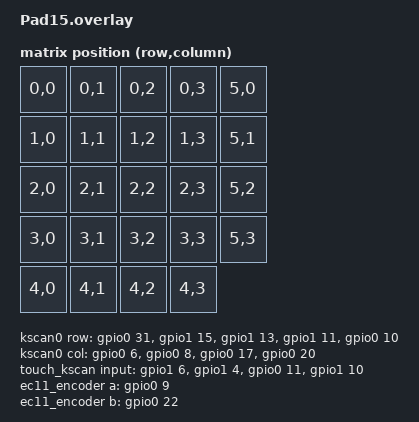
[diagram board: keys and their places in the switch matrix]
#include <dt-bindings/zmk/matrix_transform.h>
#include <dt-bindings/pinctrl/nrf-pinctrl.h>
#include <zephyr/dt-bindings/input/input-event-codes.h>
#include <zephyr/dt-bindings/adc/adc.h>
#include "Pad15.dtsi"

/{
    chosen {
	zmk,kscan = &kscan0;
	zmk,physical-layout = &layout;
	zephyr,console = &uart0;     /* 必须加上这一行 */
};


    /* 3. 复合 kscan */
    kscan0: kscan {
        compatible = "zmk,kscan-gpio-matrix";
        diode-direction = "col2row";
        col-gpios = <&gpio0 6 GPIO_ACTIVE_HIGH>,
                    <&gpio0 8 GPIO_ACTIVE_HIGH>,
                    <&gpio0 17 GPIO_ACTIVE_HIGH>,
                    <&gpio0 20 GPIO_ACTIVE_HIGH>;
        row-gpios = <&gpio0 31 (GPIO_ACTIVE_HIGH | GPIO_PULL_DOWN)>,
                    <&gpio1 15 (GPIO_ACTIVE_HIGH | GPIO_PULL_DOWN)>,
                    <&gpio1 13 (GPIO_ACTIVE_HIGH | GPIO_PULL_DOWN)>,
                    <&gpio1 11 (GPIO_ACTIVE_HIGH | GPIO_PULL_DOWN)>,
                    <&gpio0 10 (GPIO_ACTIVE_HIGH | GPIO_PULL_DOWN)>;
    };

    /* ==================== 触摸条（4 个独立触摸键）==================== */
    touch_kscan: kscan_touch {
        compatible = "zmk,kscan-gpio-direct";
        input-gpios = <&gpio1 6 (GPIO_ACTIVE_HIGH | GPIO_PULL_DOWN)>,
					<&gpio1 4 (GPIO_ACTIVE_HIGH | GPIO_PULL_DOWN)>,
					<&gpio0 11 (GPIO_ACTIVE_HIGH | GPIO_PULL_DOWN)>,
					<&gpio1 10 (GPIO_ACTIVE_HIGH | GPIO_PULL_DOWN)>;
    };

	/* --- 将上面两个打包成复合 Kscan --- */
    kscan_combo: kscan_combo {
        compatible = "zmk,kscan-composite";
        rows = <6>;    /* 键盘5行 + 触摸板虚拟1行 = 6行 */
        columns = <4>; 	/* 由于触摸板在电气上依然占0~3列，所以最大列距保留4即可 */

        matrix {
            kscan = <&kscan0>;
        };

        touch {
            kscan = <&touch_kscan>;
            row-offset = <5>; /* 把触摸条的 4 个按键，映射为虚拟的第 6 行（索引5） */
        };
    };
    /* 2. 矩阵转换 */
	transform: matrix_transform {
		compatible = "zmk,matrix-transform";
		rows = <6>;
		columns = <5>;	/* 视觉排布上，你有5列 */
		map = <
			RC(0,0) RC(0,1) RC(0,2) RC(0,3) RC(5,0)
			RC(1,0) RC(1,1) RC(1,2) RC(1,3) RC(5,1)
			RC(2,0) RC(2,1) RC(2,2) RC(2,3)	RC(5,2)
			RC(3,0) RC(3,1) RC(3,2) RC(3,3)	RC(5,3)
			RC(4,0) RC(4,1) RC(4,2) RC(4,3)				/* 注意：第五列只有 4 个位置！ */
		>;
	};

};

/* 用 nRF52840 内置 VDDH 传感器检测电量 */
/ {
    chosen {
        zmk,battery = &vbatt;   
    };

    vbatt: vbatt {
        compatible = "zmk,battery-nrf-vddh";
    };
};

/* ec11_encoder */
/ {
    ec11_encoder: ec11_encoder {
        compatible = "alps,ec11";
        a-gpios = <&gpio0 9 (GPIO_PULL_UP | GPIO_ACTIVE_LOW)>; 
        b-gpios = <&gpio0 22 (GPIO_PULL_UP | GPIO_ACTIVE_LOW)>; 
        steps = <80>; /* 如果旋转一格触发好几次，改回 20 或 40 */
        status = "okay";
    };

    sensors {
        compatible = "zmk,keymap-sensors";
        sensors = <&ec11_encoder>;
        triggers-per-rotation = <80>; 
    };
};

/* 开启主控的 ADC 节点 */
&adc {
    status = "okay";
    #address-cells = <1>;
    #size-cells = <0>;

    /* 定义摇杆 Y 轴使用的 ADC0 (对应物理引脚 P0.02) */
    channel@0 {
        reg = <0>;
        /* 使用 1/6 增益和内部 0.6V 基准，这能让 ADC 测量最高 3.6V 的电压，完美适配 3.3V 的摇杆 */
        zephyr,gain = "ADC_GAIN_1_6";
        zephyr,reference = "ADC_REF_INTERNAL";
        zephyr,acquisition-time = <ADC_ACQ_TIME_DEFAULT>;
        zephyr,resolution = <12>; /* 12位精度，把电压切分成 4096 份 */
        zephyr,input-positive = <NRF_SAADC_AIN0>;
    };

    /* 定义摇杆 X 轴使用的 ADC5 (对应物理引脚 P0.29) */
    channel@5 {
        reg = <5>;
        zephyr,gain = "ADC_GAIN_1_6";
        zephyr,reference = "ADC_REF_INTERNAL";
        zephyr,acquisition-time = <ADC_ACQ_TIME_DEFAULT>;
        zephyr,resolution = <12>;
        zephyr,input-positive = <NRF_SAADC_AIN5>;
    };
};

/* 霍尔摇杆 → 鼠标指针 */
/ {
    joystick: analog_joystick {
        compatible = "zmk,pointing-analog-joystick";
        sampling-hz = <100>;

        /* 配置 X 轴对应的 ADC 通道 */
        x-ch {
            io-channels = <&adc 5>;
            mv-mid = <1650>;
            mv-min-max = <1600>;
        	/* 摇杆盲区 (Deadzone)，防止手松开时鼠标自己飘 */
        	/* 值范围通常是 0-100 或根据具体驱动设定的阈值，建议先给个 10 测试 */
            mv-deadzone = <10>;
            scale-multiplier = <1>;
            scale-divisor = <60>;
        	invert; /* 如果发现左右反了，取消注释这行；或者加这行来反转 */
            evt-type = <INPUT_EV_REL>;
            input-code = <INPUT_REL_X>;
        };
        /* 配置 Y 轴对应的 ADC 通道 */
        y-ch {
            io-channels = <&adc 0>;
            mv-mid = <1650>;
            mv-min-max = <1600>;
            mv-deadzone = <10>;
            scale-multiplier = <1>;
            scale-divisor = <60>;
        	invert; /* 如果发现上下反了，用这个反转 */
            evt-type = <INPUT_EV_REL>;
            input-code = <INPUT_REL_Y>;
            report-on-change-only;
        };
    };
};

&uart0 {
    status = "okay";                 /* 确保 UART 被启用 */
};
